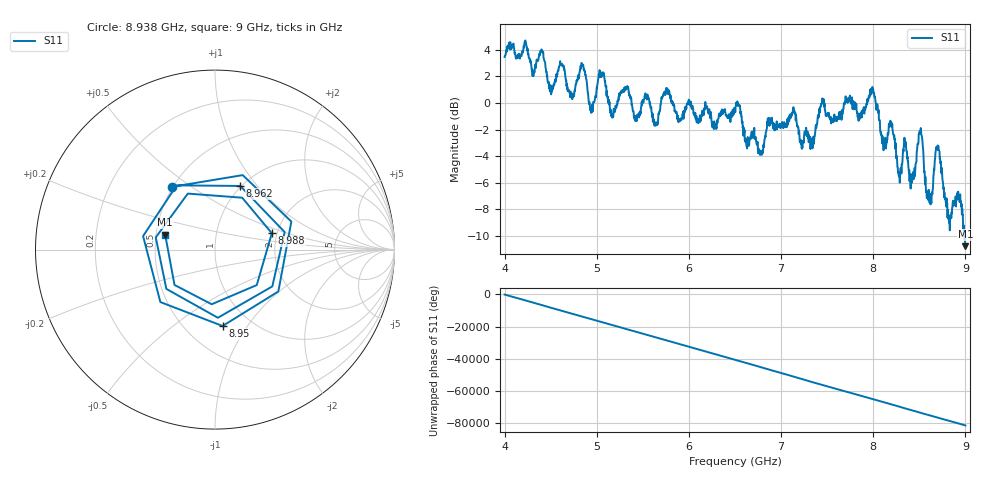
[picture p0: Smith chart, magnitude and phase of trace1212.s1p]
! Created with skrf 1.8.0 (http://scikit-rf.org).
# Hz S RI R 50.0
!freq ReS11 ImS11
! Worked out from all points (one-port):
!   1601 points, 4 GHz to 9 GHz, reference 50 ohm
!   lowest |S11| = -10.8 dB at 9 GHz (marker M1), VSWR 1.81, Z = 28 + j5.04 ohm
!   |S11| at or under -10 dB: 8.98962 GHz to end of sweep
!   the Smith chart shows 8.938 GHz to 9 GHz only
!   S11 on the Smith chart (normalised r, x): 8.938 GHz: 0.49, +0.42; 8.95 GHz: 0.74, -0.77; 8.962 GHz: 0.99, +0.82; 8.988 GHz: 1.88, +0.38; 9 GHz: 0.56, +0.10
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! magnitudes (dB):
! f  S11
! 4 GHz  3.5
! 4.625 GHz  2.9
! 4.731 GHz  0.6
! 4.85 GHz  2.9
! 4.938 GHz  -0.5
! 5.047 GHz  2.3
! 5.166 GHz  -1.0
! 5.25 GHz  0.5
! 5.875 GHz  -1.2
! 6.5 GHz  -0.4
! 6.775 GHz  -3.6
! 7.125 GHz  -0.8
! 7.334 GHz  -3.1
! 7.447 GHz  0.3
! 7.75 GHz  0.2
! 7.991 GHz  1.2
! 8.112 GHz  -3.6
! 8.375 GHz  -4.4
! 8.431 GHz  -5.2
! 8.516 GHz  -1.9
! 8.606 GHz  -7.0
! 8.7 GHz  -3.2
! 8.825 GHz  -9.0
! 8.938 GHz  -7.5
! 8.95 GHz  -7.4
! 8.962 GHz  -8.4
! 8.988 GHz  -9.6
! 9 GHz  -10.8
